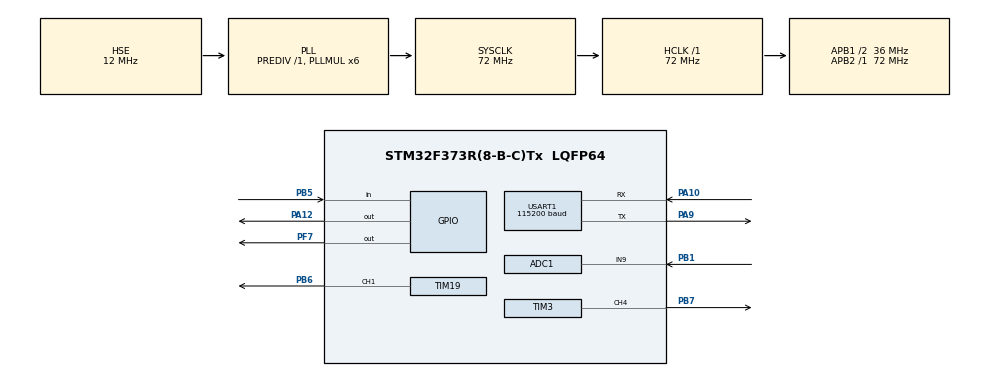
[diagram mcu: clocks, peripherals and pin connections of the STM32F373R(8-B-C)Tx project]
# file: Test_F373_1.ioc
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ADC1.Channel-0\#ChannelRegularConversion=ADC_CHANNEL_9
ADC1.NbrOfConversionFlag=1
ADC1.Rank-0\#ChannelRegularConversion=1
ADC1.SamplingTime-0\#ChannelRegularConversion=ADC_SAMPLETIME_1CYCLE_5
ADC1.master=1
Mcu.Family=STM32F3
Mcu.Name=STM32F373R(8-B-C)Tx
Mcu.Package=LQFP64
NVIC.PriorityGroup=NVIC_PRIORITYGROUP_4
PA10.Mode=Asynchronous
PA10.Signal=USART1_RX
PA12.Signal=GPIO_Output
PA13.Mode=Serial_Wire
PA13.Signal=SYS_JTMS-SWDIO
PA14.Mode=Serial_Wire
PA14.Signal=SYS_JTCK-SWCLK
PA9.Mode=Asynchronous
PA9.Signal=USART1_TX
PB1.Mode=IN9
PB1.Signal=ADC1_IN9
PB15.Signal=SDADC3_AIN7P
PB5.Signal=GPIO_Input
PB6.GPIO_Speed=GPIO_SPEED_FREQ_HIGH
PB6.Signal=S_TIM19_CH1
PB7.GPIO_Speed=GPIO_SPEED_FREQ_HIGH
PB7.Signal=S_TIM3_CH4
PF0-OSC_IN.Mode=HSE-External-Oscillator
PF0-OSC_IN.Signal=RCC_OSC_IN
PF1-OSC_OUT.Mode=HSE-External-Oscillator
PF1-OSC_OUT.Signal=RCC_OSC_OUT
PF7.Signal=GPIO_Output
ProjectManager.HeapSize=0x200
ProjectManager.StackSize=0x400
ProjectManager.TargetToolchain=MDK-ARM V5.27
RCC.AHBFreq_Value=72000000
RCC.APB1CLKDivider=RCC_HCLK_DIV2
RCC.APB1Freq_Value=36000000
RCC.APB1TimFreq_Value=72000000
RCC.APB2Freq_Value=72000000
RCC.APB2TimFreq_Value=72000000
RCC.CortexFreq_Value=72000000
RCC.HCLKFreq_Value=72000000
RCC.HSE_VALUE=12000000
RCC.HSI_VALUE=8000000
RCC.LSE_VALUE=32768
RCC.PLLMUL=RCC_PLL_MUL6
RCC.PLLSourceVirtual=RCC_PLLSOURCE_HSE
RCC.SDADCPresc=RCC_SDADCSYSCLK_DIV12
RCC.SYSCLKFreq_VALUE=72000000
RCC.SYSCLKSource=RCC_SYSCLKSOURCE_PLLCLK
RCC.USBFreq_Value=72000000
SH.S_TIM19_CH1.0=TIM19_CH1,PWM Generation1 CH1
SH.S_TIM3_CH4.0=TIM3_CH4,PWM Generation4 CH4
TIM19.Channel-PWM\ Generation1\ CH1=TIM_CHANNEL_1
TIM19.Period=72
TIM19.Pulse-PWM\ Generation1\ CH1=36
TIM3.Channel-PWM\ Generation4\ CH4=TIM_CHANNEL_4
TIM3.Period=720
TIM3.Pulse-PWM\ Generation4\ CH4=576
USART1.BaudRate=115200
USART1.VirtualMode-Asynchronous=VM_ASYNC
VP_TIM19_VS_ClockSourceINT.Mode=Internal
VP_TIM3_VS_ClockSourceINT.Mode=Internal
board=custom

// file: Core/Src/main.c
/* USER CODE BEGIN Header */
/**
  ******************************************************************************
  * @file           : main.c
  * @brief          : Main program body
  ******************************************************************************
  * @attention
  *
  * Copyright (c) 2024 STMicroelectronics.
  * All rights reserved.
  *
  * This software is licensed under terms that can be found in the LICENSE file
  * in the root directory of this software component.
  * If no LICENSE file comes with this software, it is provided AS-IS.
  *
  ******************************************************************************
  */
/* USER CODE END Header */
#include "main.h"

/* USER CODE BEGIN PD */
#define COUNT 1000
/* USER CODE END PD */

ADC_HandleTypeDef hadc1;

TIM_HandleTypeDef htim3;
TIM_HandleTypeDef htim19;

UART_HandleTypeDef huart1;

/* USER CODE BEGIN PV */
__IO uint16_t uhADCxConvertedValue = 0;
uint32_t cnt = 0;
uint8_t buff[16] = {0,};

uint8_t fl_send_data_via_UART;
uint8_t fl_ADC_start;
uint16_t buff_data_ADC[COUNT];
uint32_t count_conversion;
uint16_t min_ADC_value;
uint16_t max_ADC_value;
/* USER CODE END PV */

void SystemClock_Config(void);
static void MX_GPIO_Init(void);
static void MX_ADC1_Init(void);
static void MX_TIM3_Init(void);
static void MX_TIM19_Init(void);
static void MX_USART1_UART_Init(void);

int main(void)
{
  /* USER CODE BEGIN 1 */

	fl_send_data_via_UART = 0;
	fl_ADC_start = 0;
	count_conversion = 0;

  /* USER CODE END 1 */

  /* MCU Configuration--------------------------------------------------------*/

  /* Reset of all peripherals, Initializes the Flash interface and the Systick. */
  HAL_Init();

  /* Configure the system clock */
  SystemClock_Config();

  /* Initialize all configured peripherals */
  MX_GPIO_Init();
  MX_ADC1_Init();
  MX_TIM3_Init();
  MX_TIM19_Init();
  MX_USART1_UART_Init();
  /* USER CODE BEGIN 2 */

  HAL_GPIO_WritePin(GPIOF, GPIO_PIN_7, GPIO_PIN_SET);

	HAL_TIM_PWM_Start_IT(&htim3, TIM_CHANNEL_4);
	HAL_TIM_PWM_Start_IT(&htim19, TIM_CHANNEL_1);

	RCC->CFGR |= RCC_CFGR_ADCPRE_DIV6;

  /* USER CODE END 2 */

  /* Infinite loop */
  while (1)
  {

    /* USER CODE BEGIN 3 */
	  GPIOA->ODR ^= GPIO_PIN_12;
//	HAL_GPIO_TogglePin(GPIOA, GPIO_PIN_12);
//    /* Insert delay 100 ms */
//    HAL_Delay(100);

	if(fl_ADC_start)
	{
		if (HAL_ADC_Start(&hadc1) != HAL_OK)
		{
		  /* Start Conversation Error */
		  Error_Handler();
		}

		if (HAL_ADC_PollForConversion(&hadc1, 10) != HAL_OK)
		{
		  /* End Of Conversion flag not set on time */
		  Error_Handler();
		}
		else
		{
		  /* ADC conversion completed */
		  /*##-5- Get the converted value of regular channel  ########################*/
			buff_data_ADC[count_conversion] = HAL_ADC_GetValue(&hadc1);
			count_conversion++;
			if(count_conversion >= COUNT)
			{
				fl_ADC_start = 0;
				count_conversion = 0;
				//fl_send_data_via_UART = 1;

				min_ADC_value = buff_data_ADC[COUNT/2];
				max_ADC_value = min_ADC_value;

				for (count_conversion = 0; count_conversion <= COUNT-1; count_conversion++)
				{
					if(min_ADC_value < buff_data_ADC[count_conversion]) min_ADC_value = buff_data_ADC[count_conversion];
					else if(max_ADC_value > buff_data_ADC[count_conversion]) max_ADC_value = buff_data_ADC[count_conversion];
				}
			}
		}
	}

//	cnt++;
//	if(cnt >= COUNT)
//	{
//		HAL_GPIO_TogglePin(GPIOB, GPIO_PIN_1);
//		cnt = 0;
	// раз в секунду примерно
//	if(fl_send_data_via_UART)
//	{
//		HAL_GPIO_WritePin(GPIOF, GPIO_PIN_7, GPIO_PIN_SET);
//		HAL_UART_Transmit(&huart1, (uint8_t*)"Hello World\n", 12, 1000);
//		//HAL_UART_Transmit(&huart3, (uint8_t*)"Hello STM32\n", 12, 1000);
//		HAL_GPIO_WritePin(GPIOF, GPIO_PIN_7, GPIO_PIN_RESET);
//	}

//	HAL_UART_Receive(&huart1, (uint8_t*)buff, 15, 1000);

//	}
  }
  /* USER CODE END 3 */
}

void SystemClock_Config(void)
{
  RCC_OscInitTypeDef RCC_OscInitStruct = {0};
  RCC_ClkInitTypeDef RCC_ClkInitStruct = {0};
  RCC_PeriphCLKInitTypeDef PeriphClkInit = {0};

  /** Initializes the RCC Oscillators according to the specified parameters
  * in the RCC_OscInitTypeDef structure.
  */
  RCC_OscInitStruct.OscillatorType = RCC_OSCILLATORTYPE_HSE;
  RCC_OscInitStruct.HSEState = RCC_HSE_ON;
  RCC_OscInitStruct.HSEPredivValue = RCC_HSE_PREDIV_DIV1;
  RCC_OscInitStruct.HSIState = RCC_HSI_ON;
  RCC_OscInitStruct.PLL.PLLState = RCC_PLL_ON;
  RCC_OscInitStruct.PLL.PLLSource = RCC_PLLSOURCE_HSE;
  RCC_OscInitStruct.PLL.PLLMUL = RCC_PLL_MUL6;
  if (HAL_RCC_OscConfig(&RCC_OscInitStruct) != HAL_OK)
  {
    Error_Handler();
  }

  /** Initializes the CPU, AHB and APB buses clocks
  */
  RCC_ClkInitStruct.ClockType = RCC_CLOCKTYPE_HCLK|RCC_CLOCKTYPE_SYSCLK
                              |RCC_CLOCKTYPE_PCLK1|RCC_CLOCKTYPE_PCLK2;
  RCC_ClkInitStruct.SYSCLKSource = RCC_SYSCLKSOURCE_PLLCLK;
  RCC_ClkInitStruct.AHBCLKDivider = RCC_SYSCLK_DIV1;
  RCC_ClkInitStruct.APB1CLKDivider = RCC_HCLK_DIV2;
  RCC_ClkInitStruct.APB2CLKDivider = RCC_HCLK_DIV1;

  if (HAL_RCC_ClockConfig(&RCC_ClkInitStruct, FLASH_LATENCY_2) != HAL_OK)
  {
    Error_Handler();
  }
  PeriphClkInit.PeriphClockSelection = RCC_PERIPHCLK_USART1|RCC_PERIPHCLK_ADC1;
  PeriphClkInit.Usart1ClockSelection = RCC_USART1CLKSOURCE_PCLK2;
  PeriphClkInit.Adc1ClockSelection = RCC_ADC1PCLK2_DIV2;

  if (HAL_RCCEx_PeriphCLKConfig(&PeriphClkInit) != HAL_OK)
  {
    Error_Handler();
  }
}

static void MX_ADC1_Init(void)
{

  ADC_ChannelConfTypeDef sConfig = {0};

  /** Common config
  */
  hadc1.Instance = ADC1;
  hadc1.Init.ScanConvMode = ADC_SCAN_DISABLE;
  hadc1.Init.ContinuousConvMode = DISABLE;
  hadc1.Init.DiscontinuousConvMode = DISABLE;
  hadc1.Init.ExternalTrigConv = ADC_SOFTWARE_START;
  hadc1.Init.DataAlign = ADC_DATAALIGN_RIGHT;
  hadc1.Init.NbrOfConversion = 1;
  if (HAL_ADC_Init(&hadc1) != HAL_OK)
  {
    Error_Handler();
  }

  /** Configure Regular Channel
  */
  sConfig.Channel = ADC_CHANNEL_9;
  sConfig.Rank = ADC_REGULAR_RANK_1;
  sConfig.SamplingTime = ADC_SAMPLETIME_1CYCLE_5;
  if (HAL_ADC_ConfigChannel(&hadc1, &sConfig) != HAL_OK)
  {
    Error_Handler();
  }

}

static void MX_TIM3_Init(void)
{

  TIM_ClockConfigTypeDef sClockSourceConfig = {0};
  TIM_MasterConfigTypeDef sMasterConfig = {0};
  TIM_OC_InitTypeDef sConfigOC = {0};

  htim3.Instance = TIM3;
  htim3.Init.Prescaler = 0;
  htim3.Init.CounterMode = TIM_COUNTERMODE_UP;
  htim3.Init.Period = 720;
  htim3.Init.ClockDivision = TIM_CLOCKDIVISION_DIV1;
  htim3.Init.AutoReloadPreload = TIM_AUTORELOAD_PRELOAD_DISABLE;
  if (HAL_TIM_Base_Init(&htim3) != HAL_OK)
  {
    Error_Handler();
  }
  sClockSourceConfig.ClockSource = TIM_CLOCKSOURCE_INTERNAL;
  if (HAL_TIM_ConfigClockSource(&htim3, &sClockSourceConfig) != HAL_OK)
  {
    Error_Handler();
  }
  if (HAL_TIM_PWM_Init(&htim3) != HAL_OK)
  {
    Error_Handler();
  }
  sMasterConfig.MasterOutputTrigger = TIM_TRGO_RESET;
  sMasterConfig.MasterSlaveMode = TIM_MASTERSLAVEMODE_DISABLE;
  if (HAL_TIMEx_MasterConfigSynchronization(&htim3, &sMasterConfig) != HAL_OK)
  {
    Error_Handler();
  }
  sConfigOC.OCMode = TIM_OCMODE_PWM1;
  sConfigOC.Pulse = 576;
  sConfigOC.OCPolarity = TIM_OCPOLARITY_HIGH;
  sConfigOC.OCFastMode = TIM_OCFAST_DISABLE;
  if (HAL_TIM_PWM_ConfigChannel(&htim3, &sConfigOC, TIM_CHANNEL_4) != HAL_OK)
  {
    Error_Handler();
  }
  HAL_TIM_MspPostInit(&htim3);

}

static void MX_TIM19_Init(void)
{

  TIM_ClockConfigTypeDef sClockSourceConfig = {0};
  TIM_MasterConfigTypeDef sMasterConfig = {0};
  TIM_OC_InitTypeDef sConfigOC = {0};

  htim19.Instance = TIM19;
  htim19.Init.Prescaler = 0;
  htim19.Init.CounterMode = TIM_COUNTERMODE_UP;
  htim19.Init.Period = 72;
  htim19.Init.ClockDivision = TIM_CLOCKDIVISION_DIV1;
  htim19.Init.AutoReloadPreload = TIM_AUTORELOAD_PRELOAD_DISABLE;
  if (HAL_TIM_Base_Init(&htim19) != HAL_OK)
  {
    Error_Handler();
  }
  sClockSourceConfig.ClockSource = TIM_CLOCKSOURCE_INTERNAL;
  if (HAL_TIM_ConfigClockSource(&htim19, &sClockSourceConfig) != HAL_OK)
  {
    Error_Handler();
  }
  if (HAL_TIM_PWM_Init(&htim19) != HAL_OK)
  {
    Error_Handler();
  }
  sMasterConfig.MasterOutputTrigger = TIM_TRGO_RESET;
  sMasterConfig.MasterSlaveMode = TIM_MASTERSLAVEMODE_DISABLE;
  if (HAL_TIMEx_MasterConfigSynchronization(&htim19, &sMasterConfig) != HAL_OK)
  {
    Error_Handler();
  }
  sConfigOC.OCMode = TIM_OCMODE_PWM1;
  sConfigOC.Pulse = 36;
  sConfigOC.OCPolarity = TIM_OCPOLARITY_HIGH;
  sConfigOC.OCFastMode = TIM_OCFAST_DISABLE;
  if (HAL_TIM_PWM_ConfigChannel(&htim19, &sConfigOC, TIM_CHANNEL_1) != HAL_OK)
  {
    Error_Handler();
  }
  HAL_TIM_MspPostInit(&htim19);

}

static void MX_USART1_UART_Init(void)
{

  huart1.Instance = USART1;
  huart1.Init.BaudRate = 115200;
  huart1.Init.WordLength = UART_WORDLENGTH_8B;
  huart1.Init.StopBits = UART_STOPBITS_1;
  huart1.Init.Parity = UART_PARITY_NONE;
  huart1.Init.Mode = UART_MODE_TX_RX;
  huart1.Init.HwFlowCtl = UART_HWCONTROL_NONE;
  huart1.Init.OverSampling = UART_OVERSAMPLING_16;
  huart1.Init.OneBitSampling = UART_ONE_BIT_SAMPLE_DISABLE;
  huart1.AdvancedInit.AdvFeatureInit = UART_ADVFEATURE_NO_INIT;
  if (HAL_UART_Init(&huart1) != HAL_OK)
  {
    Error_Handler();
  }

}

static void MX_GPIO_Init(void)
{
  GPIO_InitTypeDef GPIO_InitStruct = {0};

  /* GPIO Ports Clock Enable */
  __HAL_RCC_GPIOF_CLK_ENABLE();
  __HAL_RCC_GPIOB_CLK_ENABLE();
  __HAL_RCC_GPIOA_CLK_ENABLE();

  /*Configure GPIO pin Output Level */
  HAL_GPIO_WritePin(GPIOA, GPIO_PIN_12, GPIO_PIN_RESET);

  /*Configure GPIO pin Output Level */
  HAL_GPIO_WritePin(GPIOF, GPIO_PIN_7, GPIO_PIN_RESET);

  /*Configure GPIO pin : PB15 */
  GPIO_InitStruct.Pin = GPIO_PIN_15;
  GPIO_InitStruct.Mode = GPIO_MODE_ANALOG;
  GPIO_InitStruct.Pull = GPIO_NOPULL;
  HAL_GPIO_Init(GPIOB, &GPIO_InitStruct);

  /*Configure GPIO pin : PA12 */
  GPIO_InitStruct.Pin = GPIO_PIN_12;
  GPIO_InitStruct.Mode = GPIO_MODE_OUTPUT_PP;
  GPIO_InitStruct.Pull = GPIO_NOPULL;
  GPIO_InitStruct.Speed = GPIO_SPEED_FREQ_LOW;
  HAL_GPIO_Init(GPIOA, &GPIO_InitStruct);

  /*Configure GPIO pin : PF7 */
  GPIO_InitStruct.Pin = GPIO_PIN_7;
  GPIO_InitStruct.Mode = GPIO_MODE_OUTPUT_PP;
  GPIO_InitStruct.Pull = GPIO_NOPULL;
  GPIO_InitStruct.Speed = GPIO_SPEED_FREQ_LOW;
  HAL_GPIO_Init(GPIOF, &GPIO_InitStruct);

  /*Configure GPIO pin : PB5 */
  GPIO_InitStruct.Pin = GPIO_PIN_5;
  GPIO_InitStruct.Mode = GPIO_MODE_INPUT;
  GPIO_InitStruct.Pull = GPIO_NOPULL;
  HAL_GPIO_Init(GPIOB, &GPIO_InitStruct);

}

void Error_Handler(void)
{
  __disable_irq();
  while (1)
  {
  }
}
